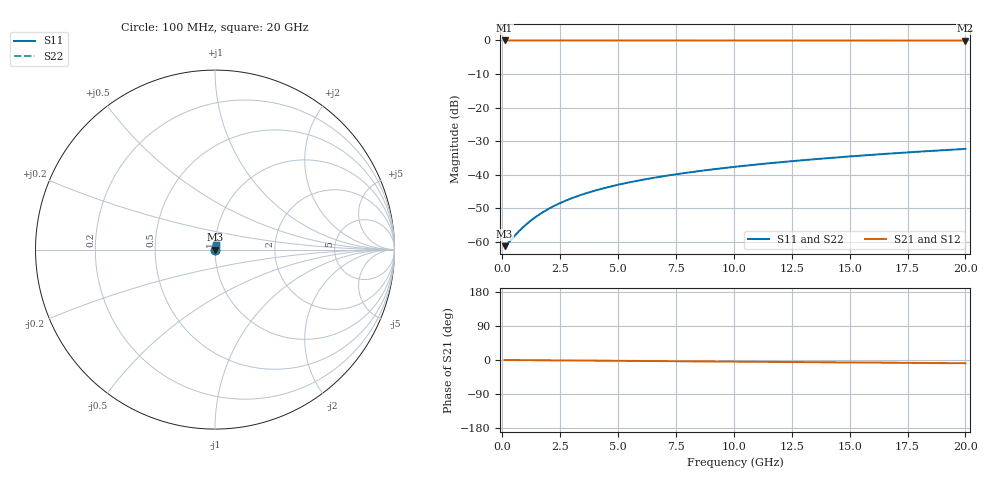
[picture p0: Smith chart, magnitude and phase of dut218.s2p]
! Touchstone file exported from HFSS 2026.1.0
!  File:  C:/ffzhzh/LocalFiles/Ansys_Project_Files/temp_train_TSV_218_1782992129_6248.aedt
!  Generated:  07:37:17 PM Jul  2, 2026
!  Design:  TSV
!  Project:  temp_train_TSV_218_1782992129_6248
! Variables:
!  h_bsmrdl = 2um
!  h_ox = 20um
!  h_rdl = 5um
!  h_sub = 92.13um
!  h_tmrdl = 5um
!  h_tsv = 92.13um
!  h_via = 3um
!  l_bsmrdl = 300um
!  l_sub = 407.2um
!  l_tmrdl = 200um
!  m_sub = 200um
!  pitch = 18.44um
!  r_tsv = 3.6um
!  s_tmrdl = 10um
!  w_bsmrdl = 18um
!  w_sub = 500um
!  w_tmrdl = 12um
!  x_tsv_center1 = 206um
!  x_tsv_center2 = 524um
!  x_tsv_center3 = 736um
!  x_tsv_center4 = 1054um
!  x_tsv_center5 = 1266um
!  x_tsv_center6 = 1584um
# GHz S MA R 50.000000
! Terminal data exported
! Port[1] = TSV1_1_T1
! Port[2] = TSV1_1_T2
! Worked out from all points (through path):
!   200 points, 100 MHz to 20 GHz, reference 50 ohm
!   highest |S21| = -0.01 dB at 100 MHz (marker M1); lowest = 0.0 dB at 20 GHz (marker M2)
!   group delay of S21, straight-line fit = 1.19 ps
!   lowest |S11| = -61.3 dB at 100 MHz (marker M3), VSWR 1.00, Z = 50.1 + j0.0171 ohm
!   |S11| at or under -10 dB: start of sweep to end of sweep
!   |S22| runs from -61.3 to -32.3 dB; largest |S21 - S12| = 2.8e-15
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0.1  0.0008568 11.5  0.9992 -0.0  0.9992 -0.0  0.0008568 11.5
! Gamma 0 0 0 0
! Port Impedance 50 0 50 0
0.2  0.0009195 21.2  0.9991 -0.1  0.9991 -0.1  0.0009195 21.2
0.6  0.001299 44.7  0.9991 -0.3  0.9991 -0.3  0.001299 44.7
0.9  0.001643 54.3  0.999 -0.4  0.999 -0.4  0.001643 54.3
1.2  0.002019 60.5  0.999 -0.5  0.999 -0.5  0.002019 60.5
1.4  0.00228 63.4  0.999 -0.6  0.999 -0.6  0.00228 63.4
1.6  0.002545 65.7  0.999 -0.7  0.999 -0.7  0.002545 65.7
2  0.003085 68.8  0.9989 -0.9  0.9989 -0.9  0.003085 68.8
2.5  0.003764 71.2  0.9988 -1.1  0.9988 -1.1  0.003764 71.2
3  0.00444 72.7  0.9988 -1.3  0.9988 -1.3  0.00444 72.7
3.5  0.005108 73.6  0.9987 -1.5  0.9987 -1.5  0.005108 73.6
4.2  0.006028 74.3  0.9985 -1.8  0.9985 -1.8  0.006028 74.3
5  0.007053 74.7  0.9984 -2.2  0.9984 -2.2  0.007053 74.7
5.9  0.008176 74.9  0.9982 -2.6  0.9982 -2.6  0.008176 74.9
6.8  0.009271 75.0  0.998 -3.0  0.998 -3.0  0.009271 75.0
8.3  0.01105 75.0  0.9978 -3.6  0.9978 -3.6  0.01105 75.0
10.1  0.01313 74.9  0.9975 -4.4  0.9975 -4.4  0.01313 74.9
11.7  0.01494 74.8  0.9973 -5.1  0.9973 -5.1  0.01494 74.8
13.4  0.01686 74.6  0.997 -5.8  0.997 -5.8  0.01686 74.6
15  0.01865 74.3  0.9968 -6.4  0.9968 -6.4  0.01865 74.3
16.7  0.02053 74.0  0.9966 -7.2  0.9966 -7.2  0.02053 74.0
20  0.02417 73.2  0.9962 -8.6  0.9962 -8.6  0.02417 73.2
